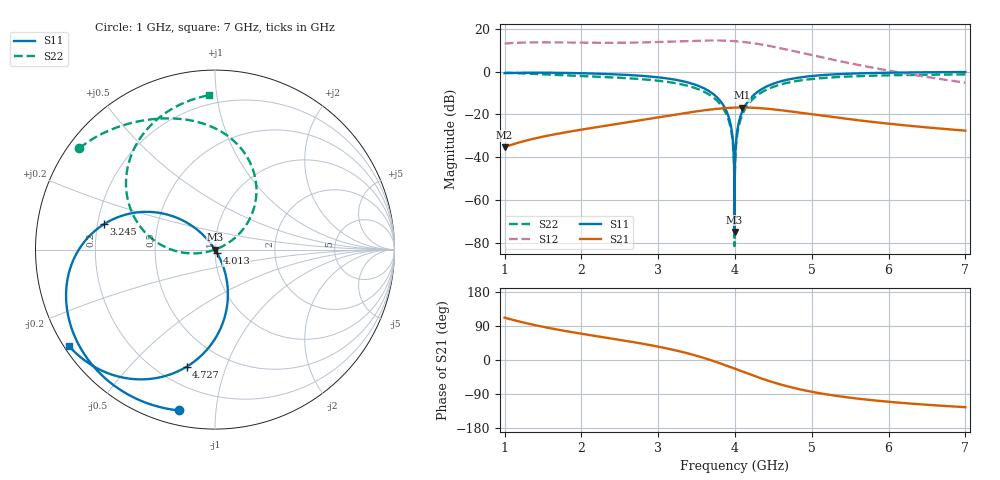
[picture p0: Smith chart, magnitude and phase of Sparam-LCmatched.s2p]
# Hz S RI R 50
! Freq.	S11(V2)	S12(V2)	S21(V2)	S22(V2)
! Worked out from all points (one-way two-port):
!   8452 points, 1 GHz to 7 GHz, reference 50 ohm
!   highest |S21| = -16.78 dB at 4.093 GHz (marker M1); lowest = -35.3 dB at 1 GHz (marker M2)
!   lowest |S11| = -74.9 dB at 3.994 GHz (marker M3), VSWR 1.00, Z = 50 - j0.0178 ohm
!   |S11| at or under -10 dB: 3.698 GHz to 4.275 GHz (577 MHz wide, 14.5 % of centre)
!   |S22| runs from -81.5 to -0.5 dB; largest |S21 - S12| = 5.2
!   S11 on the Smith chart (normalised r, x): 1 GHz: 0.07, -0.80; 3.245 GHz: 0.23, +0.11; 4.013 GHz: 1.02, -0.04; 4.727 GHz: 0.31, -0.74; 7 GHz: 0.01, -0.30
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1e9  -0.2002 -0.8963  -0.00634 0.016  -4.489 0.4458  -0.7554 0.5646
1.221237e9  -0.4199 -0.8392  -0.00401 0.0226  -4.382 1.815  -0.6508 0.6343
1.49417e9  -0.613 -0.716  0.00114 0.0301  -3.65 3.139  -0.5231 0.6891
1.734603e9  -0.7224 -0.5915  0.00727 0.0358  -2.76 3.908  -0.4159 0.7166
2.000322e9  -0.7938 -0.4531  0.0156 0.0413  -1.711 4.407  -0.3027 0.7302
2.502649e9  -0.8271 -0.2017  0.0369 0.049  0.2412 4.697  -0.0937 0.7103
3.000544e9  -0.7322 0.0382  0.0695 0.0491  2.238 4.352  0.1095 0.6013
3.24489e9  -0.6183 0.1418  0.0911 0.0416  3.301 3.842  0.1918 0.4923
3.522897e9  -0.4147 0.2091  0.1176 0.0203  4.481 2.76  0.2305 0.3112
3.798394e9  -0.1566 0.15  0.1354 -0.0196  5.212 1.007  0.1487 0.1036
3.91201e9  -0.058 0.0732  0.1359 -0.0404  5.227 0.1444  0.0701 0.0347
3.993926e9  -3.4e-05 -0.000178  0.1328 -0.0557  5.103 -0.4761  -8.18e-05 1.9e-05
4.000369e9  0.00391 -0.00649  0.1324 -0.0568  5.088 -0.5237  -0.00597 -0.00205
4.013285e9  0.0115 -0.0194  0.1316 -0.0592  5.057 -0.6186  -0.0179 -0.0059
4.092607e9  0.0488 -0.1034  0.1252 -0.0731  4.805 -1.173  -0.0938 -0.0202
4.244241e9  0.0711 -0.2746  0.1067 -0.0949  4.098 -2.03  -0.2385 -0.00174
4.389348e9  0.0365 -0.4264  0.0846 -0.1078  3.275 -2.535  -0.3551 0.0635
4.727157e9  -0.158 -0.6525  0.0366 -0.1113  1.544 -2.697  -0.4887 0.292
5.000345e9  -0.3272 -0.7157  0.0107 -0.1  0.6564 -2.325  -0.4856 0.4626
5.416266e9  -0.5214 -0.7112  -0.0103 -0.0795  -0.0108 -1.67  -0.4016 0.6423
6.000674e9  -0.6836 -0.646  -0.021 -0.057  -0.3012 -1.009  -0.252 0.7768
7e9  -0.8156 -0.535  -0.0237 -0.0344  -0.3219 -0.4459  -0.0307 0.8607
